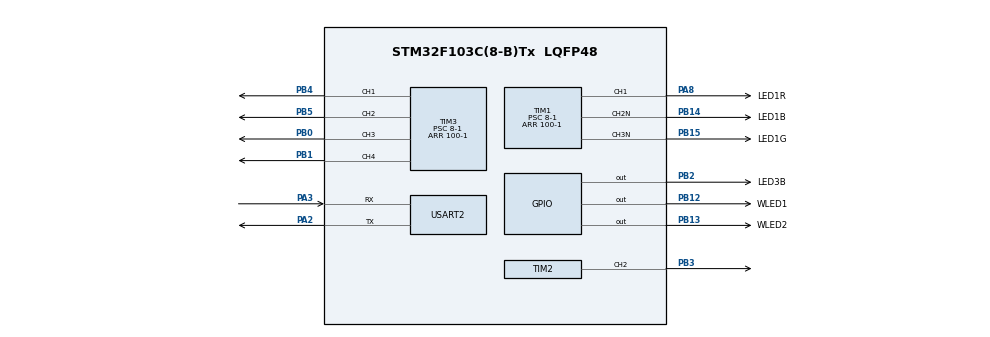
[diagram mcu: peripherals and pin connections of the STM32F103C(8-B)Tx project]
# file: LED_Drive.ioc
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Mcu.Family=STM32F1
Mcu.Name=STM32F103C(8-B)Tx
Mcu.Package=LQFP48
NVIC.PriorityGroup=NVIC_PRIORITYGROUP_4
NVIC.USART2_IRQn=true\:0\:0\:false\:false\:true\:true\:true\:true
PA13.Mode=Serial_Wire
PA13.Signal=SYS_JTMS-SWDIO
PA14.Mode=Serial_Wire
PA14.Signal=SYS_JTCK-SWCLK
PA2.Mode=Asynchronous
PA2.Signal=USART2_TX
PA3.Mode=Asynchronous
PA3.Signal=USART2_RX
PA8.GPIO_Label=LED1R
PA8.Signal=S_TIM1_CH1
PB0.Signal=S_TIM3_CH3
PB1.Signal=S_TIM3_CH4
PB12.GPIO_Label=WLED1
PB12.Signal=GPIO_Output
PB13.GPIO_Label=WLED2
PB13.Signal=GPIO_Output
PB14.GPIO_Label=LED1B
PB14.Mode=PWM Generation2 CH2N
PB14.Signal=TIM1_CH2N
PB15.GPIO_Label=LED1G
PB15.Mode=PWM Generation3 CH3N
PB15.Signal=TIM1_CH3N
PB2.GPIO_Label=LED3B
PB2.Signal=GPIO_Output
PB3.Signal=S_TIM2_CH2
PB4.Signal=S_TIM3_CH1
PB5.Signal=S_TIM3_CH2
PD0-OSC_IN.Mode=HSE-External-Oscillator
PD0-OSC_IN.Signal=RCC_OSC_IN
PD1-OSC_OUT.Mode=HSE-External-Oscillator
PD1-OSC_OUT.Signal=RCC_OSC_OUT
ProjectManager.HeapSize=0x200
ProjectManager.StackSize=0x400
ProjectManager.TargetToolchain=STM32CubeIDE
RCC.APB1Freq_Value=8000000
RCC.APB2Freq_Value=8000000
SH.S_TIM1_CH1.0=TIM1_CH1,PWM Generation1 CH1
SH.S_TIM2_CH2.0=TIM2_CH2,PWM Generation2 CH2
SH.S_TIM3_CH1.0=TIM3_CH1,PWM Generation1 CH1
SH.S_TIM3_CH2.0=TIM3_CH2,PWM Generation2 CH2
SH.S_TIM3_CH3.0=TIM3_CH3,PWM Generation3 CH3
SH.S_TIM3_CH4.0=TIM3_CH4,PWM Generation4 CH4
TIM1.Channel-PWM\ Generation1\ CH1=TIM_CHANNEL_1
TIM1.Channel-PWM\ Generation2\ CH2N=TIM_CHANNEL_2
TIM1.Channel-PWM\ Generation3\ CH3N=TIM_CHANNEL_3
TIM1.Period=100-1
TIM1.Prescaler=8-1
TIM2.Channel-PWM\ Generation2\ CH2=TIM_CHANNEL_2
TIM2.Period=100-1
TIM2.Prescaler=8-1
TIM3.Channel-PWM\ Generation1\ CH1=TIM_CHANNEL_1
TIM3.Channel-PWM\ Generation2\ CH2=TIM_CHANNEL_2
TIM3.Channel-PWM\ Generation3\ CH3=TIM_CHANNEL_3
TIM3.Channel-PWM\ Generation4\ CH4=TIM_CHANNEL_4
TIM3.Period=100-1
TIM3.Prescaler=8-1
TIM3.Pulse-PWM\ Generation3\ CH3=100
TIM3.Pulse-PWM\ Generation4\ CH4=100
USART2.VirtualMode=VM_ASYNC
VP_TIM1_VS_ClockSourceINT.Mode=Internal
VP_TIM2_VS_ClockSourceINT.Mode=Internal
VP_TIM3_VS_ClockSourceINT.Mode=Internal
board=custom

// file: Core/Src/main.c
/* USER CODE BEGIN Header */
/**
  ******************************************************************************
  * @file           : main.c
  * @brief          : Main program body
  ******************************************************************************
  * @attention
  *
  * Copyright (c) 2025 STMicroelectronics.
  * All rights reserved.
  *
  * This software is licensed under terms that can be found in the LICENSE file
  * in the root directory of this software component.
  * If no LICENSE file comes with this software, it is provided AS-IS.
  *
  ******************************************************************************
  */
/* USER CODE END Header */
#include "main.h"

TIM_HandleTypeDef htim1;
TIM_HandleTypeDef htim2;
TIM_HandleTypeDef htim3;

UART_HandleTypeDef huart2;

/* USER CODE BEGIN PV */
uint8_t receiveData[10];
uint8_t address = 0x94;
uint8_t sendData[10] = {0xAF,0x94,0xFF,0x08,0x00,0x00,0x00,0x00,0x00,0x00};//帧头//地址//功能//长度//通道//数据//数据//数据//CRC//CRC//
uint8_t soft_PWM_LED3B = 0;
uint8_t soft_PWM_i = 0;
uint8_t Pwm_value_tim1_ch1 = 0;
uint8_t Pwm_value_tim1_ch2n = 0;
uint8_t Pwm_value_tim1_ch3n = 0;
uint8_t Pwm_value_tim2_ch2 = 0;
uint8_t Pwm_value_tim3_ch1 = 0;
uint8_t Pwm_value_tim3_ch2 = 0;
uint8_t Pwm_value_tim3_ch3 = 0;
uint8_t Pwm_value_tim3_ch4 = 0;
uint8_t Pwm_value_led3b = 0;
/* USER CODE END PV */

void SystemClock_Config(void);
static void MX_GPIO_Init(void);
static void MX_TIM1_Init(void);
static void MX_TIM2_Init(void);
static void MX_TIM3_Init(void);
static void MX_USART2_UART_Init(void);

/* USER CODE BEGIN 0 */
void HAL_UART_RxCpltCallback(UART_HandleTypeDef *huart){
	HAL_UART_Receive_IT(&huart2, receiveData, 10);

	if(receiveData[0] ==  0xAF && receiveData[1] == address){
		if(receiveData[2] == 0x02){//Write data
			if(receiveData[4] == 0x01){//WLED1
				if(receiveData[7] == 0){
					HAL_GPIO_WritePin(WLED1_GPIO_Port, WLED1_Pin, GPIO_PIN_RESET);
				}else{
					HAL_GPIO_WritePin(WLED1_GPIO_Port, WLED1_Pin, GPIO_PIN_SET);
				}
			}
			else if(receiveData[4] == 0x02){//WLED2
				if(receiveData[7] == 0){
					HAL_GPIO_WritePin(WLED2_GPIO_Port, WLED2_Pin, GPIO_PIN_RESET);
				}else{
					HAL_GPIO_WritePin(WLED2_GPIO_Port, WLED2_Pin, GPIO_PIN_SET);
				}
			}
			else if(receiveData[4] == 0x11){//RGBLED1
					__HAL_TIM_SET_COMPARE(&htim1, TIM_CHANNEL_1,(receiveData[5]*100)/255);//R
					__HAL_TIM_SET_COMPARE(&htim1, TIM_CHANNEL_3,((255-receiveData[6])*100)/255);//G
					__HAL_TIM_SET_COMPARE(&htim1, TIM_CHANNEL_2,((255-receiveData[7])*100)/255);//B
			}
			else if(receiveData[4] == 0x12){//RGBLED2
					__HAL_TIM_SET_COMPARE(&htim3, TIM_CHANNEL_2,(receiveData[5]*100)/255);//R
					__HAL_TIM_SET_COMPARE(&htim3, TIM_CHANNEL_1,(receiveData[6]*100)/255);//G
					__HAL_TIM_SET_COMPARE(&htim2, TIM_CHANNEL_2,(receiveData[7]*100)/255);//B
			}
			else if(receiveData[4] == 0x13){//RGBLED3
					__HAL_TIM_SET_COMPARE(&htim3, TIM_CHANNEL_3,100-(receiveData[5]*100)/255);//R
					__HAL_TIM_SET_COMPARE(&htim3, TIM_CHANNEL_4,100-(receiveData[6]*100)/255);//G
					soft_PWM_LED3B = (receiveData[7]*100)/255;//B

			}

			HAL_UART_Transmit(&huart2, receiveData, 10 , 100);
		};
		if(receiveData[2] == 0x03){
			if(receiveData[4] == 0x00){//Address
				address = receiveData[7];
			}

			HAL_UART_Transmit(&huart2, receiveData, 10 , 100);
		};
		if(receiveData[2] == 0x01){//Read data
			if(receiveData[4] == 0x01){//WLED1
				if(receiveData[7] == 0){

				}else{

				}
			}
			else if(receiveData[4] == 0x02){//WLED2
				if(receiveData[7] == 0){

				}else{

				}
			}
			else if(receiveData[4] == 0x11){//RGBLED1
				Pwm_value_tim1_ch1 = (uint8_t)((TIM1->CCR1*255)/100);
				Pwm_value_tim1_ch2n = 255-(uint8_t)((TIM1->CCR2*255)/100);
				Pwm_value_tim1_ch3n = 255-(uint8_t)((TIM1->CCR3*255)/100);
				sendData[5] = Pwm_value_tim1_ch1;
				sendData[6] = Pwm_value_tim1_ch3n;
				sendData[7] = Pwm_value_tim1_ch2n;
			}
			else if(receiveData[4] == 0x12){//RGBLED2
				Pwm_value_tim3_ch2 = (uint8_t)((TIM3->CCR2*255)/100);
				Pwm_value_tim3_ch1 = (uint8_t)((TIM3->CCR1*255)/100);
				Pwm_value_tim2_ch2 = (uint8_t)((TIM2->CCR2*255)/100);
				sendData[5] = Pwm_value_tim3_ch2;
				sendData[6] = Pwm_value_tim3_ch1;
				sendData[7] = Pwm_value_tim2_ch2;
			}
			else if(receiveData[4] == 0x13){//RGBLED3
				Pwm_value_tim3_ch3 = (uint8_t)((TIM1->CCR1*255)/100);
				Pwm_value_tim3_ch4 = (uint8_t)((TIM1->CCR1*255)/100);
				Pwm_value_led3b = (uint8_t)((soft_PWM_LED3B*255)/100);
				sendData[5] = Pwm_value_tim3_ch3;
				sendData[6] = Pwm_value_tim3_ch4;
				sendData[7] = Pwm_value_led3b;
			}
			sendData[4] = receiveData[4];

			HAL_UART_Transmit(&huart2, sendData, 10 , 100);
		};
	};

}
/* USER CODE END 0 */

int main(void)
{

  /* MCU Configuration--------------------------------------------------------*/

  /* Reset of all peripherals, Initializes the Flash interface and the Systick. */
  HAL_Init();

  /* Configure the system clock */
  SystemClock_Config();

  /* Initialize all configured peripherals */
  MX_GPIO_Init();
  MX_TIM1_Init();
  MX_TIM2_Init();
  MX_TIM3_Init();
  MX_USART2_UART_Init();
  /* USER CODE BEGIN 2 */
  	HAL_TIM_PWM_Start(&htim1, TIM_CHANNEL_1);
    HAL_TIM_PWM_Start(&htim1, TIM_CHANNEL_2);
    HAL_TIM_PWM_Start(&htim1, TIM_CHANNEL_3);
    HAL_TIMEx_PWMN_Start(&htim1, TIM_CHANNEL_2);
    HAL_TIMEx_PWMN_Start(&htim1, TIM_CHANNEL_3);

    HAL_TIM_PWM_Start(&htim2, TIM_CHANNEL_2);

    HAL_TIM_PWM_Start(&htim3, TIM_CHANNEL_1);
    HAL_TIM_PWM_Start(&htim3, TIM_CHANNEL_2);
    HAL_TIM_PWM_Start(&htim3, TIM_CHANNEL_3);
    HAL_TIM_PWM_Start(&htim3, TIM_CHANNEL_4);

    HAL_UART_Receive_IT(&huart2, receiveData, 10);
  /* USER CODE END 2 */

  /* Infinite loop */
  /* USER CODE BEGIN WHILE */
  while (1)
  {
	  if(soft_PWM_i >= soft_PWM_LED3B){
	  		  HAL_GPIO_WritePin(LED3B_GPIO_Port, LED3B_Pin,GPIO_PIN_SET);
	  	  }else{
	  		  HAL_GPIO_WritePin(LED3B_GPIO_Port, LED3B_Pin,GPIO_PIN_RESET);
	  	  };
	  	  soft_PWM_i ++;
	  	  if(soft_PWM_i >= 100){
	  		  soft_PWM_i = 0;
	  	  };
    /* USER CODE END WHILE */

  }
}

void SystemClock_Config(void)
{
  RCC_OscInitTypeDef RCC_OscInitStruct = {0};
  RCC_ClkInitTypeDef RCC_ClkInitStruct = {0};

  /** Initializes the RCC Oscillators according to the specified parameters
  * in the RCC_OscInitTypeDef structure.
  */
  RCC_OscInitStruct.OscillatorType = RCC_OSCILLATORTYPE_HSI;
  RCC_OscInitStruct.HSIState = RCC_HSI_ON;
  RCC_OscInitStruct.HSICalibrationValue = RCC_HSICALIBRATION_DEFAULT;
  RCC_OscInitStruct.PLL.PLLState = RCC_PLL_NONE;
  if (HAL_RCC_OscConfig(&RCC_OscInitStruct) != HAL_OK)
  {
    Error_Handler();
  }

  /** Initializes the CPU, AHB and APB buses clocks
  */
  RCC_ClkInitStruct.ClockType = RCC_CLOCKTYPE_HCLK|RCC_CLOCKTYPE_SYSCLK
                              |RCC_CLOCKTYPE_PCLK1|RCC_CLOCKTYPE_PCLK2;
  RCC_ClkInitStruct.SYSCLKSource = RCC_SYSCLKSOURCE_HSI;
  RCC_ClkInitStruct.AHBCLKDivider = RCC_SYSCLK_DIV1;
  RCC_ClkInitStruct.APB1CLKDivider = RCC_HCLK_DIV1;
  RCC_ClkInitStruct.APB2CLKDivider = RCC_HCLK_DIV1;

  if (HAL_RCC_ClockConfig(&RCC_ClkInitStruct, FLASH_LATENCY_0) != HAL_OK)
  {
    Error_Handler();
  }
}

static void MX_TIM1_Init(void)
{

  TIM_ClockConfigTypeDef sClockSourceConfig = {0};
  TIM_MasterConfigTypeDef sMasterConfig = {0};
  TIM_OC_InitTypeDef sConfigOC = {0};
  TIM_BreakDeadTimeConfigTypeDef sBreakDeadTimeConfig = {0};

  htim1.Instance = TIM1;
  htim1.Init.Prescaler = 8-1;
  htim1.Init.CounterMode = TIM_COUNTERMODE_UP;
  htim1.Init.Period = 100-1;
  htim1.Init.ClockDivision = TIM_CLOCKDIVISION_DIV1;
  htim1.Init.RepetitionCounter = 0;
  htim1.Init.AutoReloadPreload = TIM_AUTORELOAD_PRELOAD_DISABLE;
  if (HAL_TIM_Base_Init(&htim1) != HAL_OK)
  {
    Error_Handler();
  }
  sClockSourceConfig.ClockSource = TIM_CLOCKSOURCE_INTERNAL;
  if (HAL_TIM_ConfigClockSource(&htim1, &sClockSourceConfig) != HAL_OK)
  {
    Error_Handler();
  }
  if (HAL_TIM_PWM_Init(&htim1) != HAL_OK)
  {
    Error_Handler();
  }
  sMasterConfig.MasterOutputTrigger = TIM_TRGO_RESET;
  sMasterConfig.MasterSlaveMode = TIM_MASTERSLAVEMODE_DISABLE;
  if (HAL_TIMEx_MasterConfigSynchronization(&htim1, &sMasterConfig) != HAL_OK)
  {
    Error_Handler();
  }
  sConfigOC.OCMode = TIM_OCMODE_PWM1;
  sConfigOC.Pulse = 0;
  sConfigOC.OCPolarity = TIM_OCPOLARITY_HIGH;
  sConfigOC.OCNPolarity = TIM_OCNPOLARITY_HIGH;
  sConfigOC.OCFastMode = TIM_OCFAST_DISABLE;
  sConfigOC.OCIdleState = TIM_OCIDLESTATE_RESET;
  sConfigOC.OCNIdleState = TIM_OCNIDLESTATE_RESET;
  if (HAL_TIM_PWM_ConfigChannel(&htim1, &sConfigOC, TIM_CHANNEL_1) != HAL_OK)
  {
    Error_Handler();
  }
  if (HAL_TIM_PWM_ConfigChannel(&htim1, &sConfigOC, TIM_CHANNEL_2) != HAL_OK)
  {
    Error_Handler();
  }
  if (HAL_TIM_PWM_ConfigChannel(&htim1, &sConfigOC, TIM_CHANNEL_3) != HAL_OK)
  {
    Error_Handler();
  }
  sBreakDeadTimeConfig.OffStateRunMode = TIM_OSSR_DISABLE;
  sBreakDeadTimeConfig.OffStateIDLEMode = TIM_OSSI_DISABLE;
  sBreakDeadTimeConfig.LockLevel = TIM_LOCKLEVEL_OFF;
  sBreakDeadTimeConfig.DeadTime = 0;
  sBreakDeadTimeConfig.BreakState = TIM_BREAK_DISABLE;
  sBreakDeadTimeConfig.BreakPolarity = TIM_BREAKPOLARITY_HIGH;
  sBreakDeadTimeConfig.AutomaticOutput = TIM_AUTOMATICOUTPUT_DISABLE;
  if (HAL_TIMEx_ConfigBreakDeadTime(&htim1, &sBreakDeadTimeConfig) != HAL_OK)
  {
    Error_Handler();
  }
  HAL_TIM_MspPostInit(&htim1);

}

static void MX_TIM2_Init(void)
{

  TIM_ClockConfigTypeDef sClockSourceConfig = {0};
  TIM_MasterConfigTypeDef sMasterConfig = {0};
  TIM_OC_InitTypeDef sConfigOC = {0};

  htim2.Instance = TIM2;
  htim2.Init.Prescaler = 8-1;
  htim2.Init.CounterMode = TIM_COUNTERMODE_UP;
  htim2.Init.Period = 100-1;
  htim2.Init.ClockDivision = TIM_CLOCKDIVISION_DIV1;
  htim2.Init.AutoReloadPreload = TIM_AUTORELOAD_PRELOAD_DISABLE;
  if (HAL_TIM_Base_Init(&htim2) != HAL_OK)
  {
    Error_Handler();
  }
  sClockSourceConfig.ClockSource = TIM_CLOCKSOURCE_INTERNAL;
  if (HAL_TIM_ConfigClockSource(&htim2, &sClockSourceConfig) != HAL_OK)
  {
    Error_Handler();
  }
  if (HAL_TIM_PWM_Init(&htim2) != HAL_OK)
  {
    Error_Handler();
  }
  sMasterConfig.MasterOutputTrigger = TIM_TRGO_RESET;
  sMasterConfig.MasterSlaveMode = TIM_MASTERSLAVEMODE_DISABLE;
  if (HAL_TIMEx_MasterConfigSynchronization(&htim2, &sMasterConfig) != HAL_OK)
  {
    Error_Handler();
  }
  sConfigOC.OCMode = TIM_OCMODE_PWM1;
  sConfigOC.Pulse = 0;
  sConfigOC.OCPolarity = TIM_OCPOLARITY_HIGH;
  sConfigOC.OCFastMode = TIM_OCFAST_DISABLE;
  if (HAL_TIM_PWM_ConfigChannel(&htim2, &sConfigOC, TIM_CHANNEL_2) != HAL_OK)
  {
    Error_Handler();
  }
  HAL_TIM_MspPostInit(&htim2);

}

static void MX_TIM3_Init(void)
{

  TIM_ClockConfigTypeDef sClockSourceConfig = {0};
  TIM_MasterConfigTypeDef sMasterConfig = {0};
  TIM_OC_InitTypeDef sConfigOC = {0};

  htim3.Instance = TIM3;
  htim3.Init.Prescaler = 8-1;
  htim3.Init.CounterMode = TIM_COUNTERMODE_UP;
  htim3.Init.Period = 100-1;
  htim3.Init.ClockDivision = TIM_CLOCKDIVISION_DIV1;
  htim3.Init.AutoReloadPreload = TIM_AUTORELOAD_PRELOAD_DISABLE;
  if (HAL_TIM_Base_Init(&htim3) != HAL_OK)
  {
    Error_Handler();
  }
  sClockSourceConfig.ClockSource = TIM_CLOCKSOURCE_INTERNAL;
  if (HAL_TIM_ConfigClockSource(&htim3, &sClockSourceConfig) != HAL_OK)
  {
    Error_Handler();
  }
  if (HAL_TIM_PWM_Init(&htim3) != HAL_OK)
  {
    Error_Handler();
  }
  sMasterConfig.MasterOutputTrigger = TIM_TRGO_RESET;
  sMasterConfig.MasterSlaveMode = TIM_MASTERSLAVEMODE_DISABLE;
  if (HAL_TIMEx_MasterConfigSynchronization(&htim3, &sMasterConfig) != HAL_OK)
  {
    Error_Handler();
  }
  sConfigOC.OCMode = TIM_OCMODE_PWM1;
  sConfigOC.Pulse = 0;
  sConfigOC.OCPolarity = TIM_OCPOLARITY_HIGH;
  sConfigOC.OCFastMode = TIM_OCFAST_DISABLE;
  if (HAL_TIM_PWM_ConfigChannel(&htim3, &sConfigOC, TIM_CHANNEL_1) != HAL_OK)
  {
    Error_Handler();
  }
  if (HAL_TIM_PWM_ConfigChannel(&htim3, &sConfigOC, TIM_CHANNEL_2) != HAL_OK)
  {
    Error_Handler();
  }
  sConfigOC.Pulse = 100;
  if (HAL_TIM_PWM_ConfigChannel(&htim3, &sConfigOC, TIM_CHANNEL_3) != HAL_OK)
  {
    Error_Handler();
  }
  if (HAL_TIM_PWM_ConfigChannel(&htim3, &sConfigOC, TIM_CHANNEL_4) != HAL_OK)
  {
    Error_Handler();
  }
  HAL_TIM_MspPostInit(&htim3);

}

static void MX_USART2_UART_Init(void)
{

  huart2.Instance = USART2;
  huart2.Init.BaudRate = 115200;
  huart2.Init.WordLength = UART_WORDLENGTH_8B;
  huart2.Init.StopBits = UART_STOPBITS_1;
  huart2.Init.Parity = UART_PARITY_NONE;
  huart2.Init.Mode = UART_MODE_TX_RX;
  huart2.Init.HwFlowCtl = UART_HWCONTROL_NONE;
  huart2.Init.OverSampling = UART_OVERSAMPLING_16;
  if (HAL_UART_Init(&huart2) != HAL_OK)
  {
    Error_Handler();
  }

}

static void MX_GPIO_Init(void)
{
  GPIO_InitTypeDef GPIO_InitStruct = {0};

  /* GPIO Ports Clock Enable */
  __HAL_RCC_GPIOD_CLK_ENABLE();
  __HAL_RCC_GPIOA_CLK_ENABLE();
  __HAL_RCC_GPIOB_CLK_ENABLE();

  /*Configure GPIO pin Output Level */
  HAL_GPIO_WritePin(GPIOB, LED3B_Pin|WLED1_Pin|WLED2_Pin, GPIO_PIN_RESET);

  /*Configure GPIO pins : LED3B_Pin WLED1_Pin WLED2_Pin */
  GPIO_InitStruct.Pin = LED3B_Pin|WLED1_Pin|WLED2_Pin;
  GPIO_InitStruct.Mode = GPIO_MODE_OUTPUT_PP;
  GPIO_InitStruct.Pull = GPIO_NOPULL;
  GPIO_InitStruct.Speed = GPIO_SPEED_FREQ_LOW;
  HAL_GPIO_Init(GPIOB, &GPIO_InitStruct);

}

void Error_Handler(void)
{
  __disable_irq();
  while (1)
  {
  }
}
